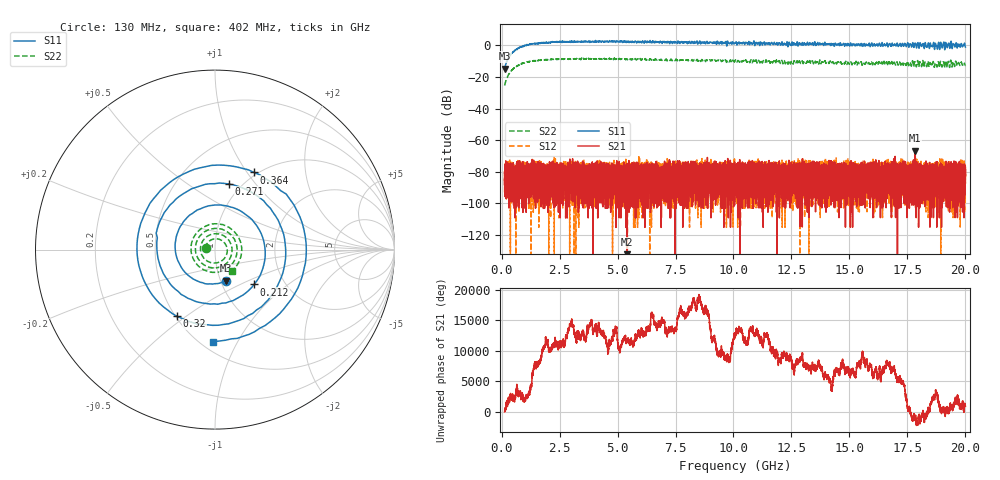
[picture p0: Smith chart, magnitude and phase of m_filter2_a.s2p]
!Created with skrf (http://scikit-rf.org).
# GHz S RI R 50.0
!freq ReS11 ImS11 ReS21 ImS21 ReS12 ImS12 ReS22 ImS22
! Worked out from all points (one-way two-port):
!   20013 points, 130 MHz to 20 GHz, reference 50 ohm
!   highest |S21| = -66.59 dB at 17.84 GHz (marker M1); lowest = -178.5 dB at 5.407 GHz (marker M2)
!   lowest |S11| = -14.7 dB at 130 MHz (marker M3), VSWR 1.45, Z = 53.2 - j19 ohm
!   |S11| at or under -10 dB: start of sweep to 239.4 MHz
!   |S22| runs from -25.5 to -8.2 dB; largest |S21 - S12| = 0.00043
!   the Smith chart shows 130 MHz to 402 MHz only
!   S11 on the Smith chart (normalised r, x): 130 MHz: 1.06, -0.38; 212 MHz: 1.41, -0.60; 271 MHz: 0.87, +0.74; 320 MHz: 0.51, -0.46; 364 MHz: 0.96, +1.08; 402 MHz: 0.58, -0.80
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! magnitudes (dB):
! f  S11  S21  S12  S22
! 130 MHz  -14.7  -84.6  -93.1  -25.5
! 212 MHz  -10.7  -76.2  -74.5  -21.5
! 271 MHz  -8.6  -81.2  -83.0  -19.5
! 320 MHz  -7.4  -80.2  -88.5  -18.1
! 364 MHz  -6.3  -87.6  -74.6  -17.2
! 402 MHz  -5.8  -80.1  -93.5  -16.4
! 806 MHz  -1.2  -93.5  -88.7  -11.9
! 1.337 GHz  0.7  -82.7  -84.8  -10.0
! 2.219 GHz  2.1  -73.9  -79.9  -8.9
! 3.442 GHz  2.7  -84.3  -86.0  -8.5
! 5.407 GHz  2.6  -178.5  -76.3  -8.8
! 6.754 GHz  1.8  -80.3  -100.0  -9.2
! 10.06 GHz  1.7  -78.0  -75.0  -10.0
! 13.38 GHz  0.5  -83.6  -77.4  -10.3
! 16.69 GHz  0.5  -90.3  -78.5  -11.2
! 17.84 GHz  1.3  -66.6  -77.2  -10.7
! 18.74 GHz  -0.3  -77.7  -79.0  -11.4
! 19.42 GHz  -1.9  -74.9  -79.0  -13.7
! 19.48 GHz  0.8  -88.9  -78.6  -10.3
! 19.53 GHz  -0.4  -82.1  -78.6  -13.4
! 19.59 GHz  1.2  -79.5  -86.9  -10.2
! 20 GHz  -1.1  -79.7  -80.5  -12.7
